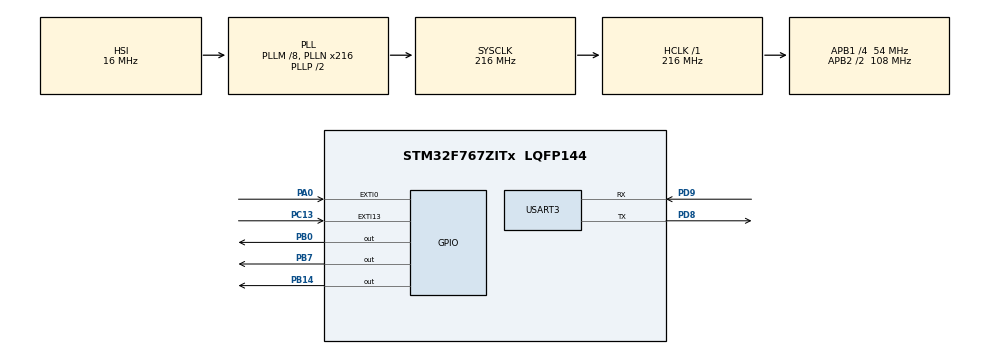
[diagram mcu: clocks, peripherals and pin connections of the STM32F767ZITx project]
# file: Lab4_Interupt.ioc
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Mcu.Family=STM32F7
Mcu.Name=STM32F767ZITx
Mcu.Package=LQFP144
NVIC.EXTI0_IRQn=true\:2\:0\:true\:false\:true\:true\:true
NVIC.EXTI15_10_IRQn=true\:2\:2\:true\:false\:true\:true\:true
NVIC.PriorityGroup=NVIC_PRIORITYGROUP_2
PA0/WKUP.GPIO_ModeDefaultEXTI=GPIO_MODE_IT_FALLING
PA0/WKUP.GPIO_PuPd=GPIO_PULLUP
PA0/WKUP.Signal=GPXTI0
PB0.Signal=GPIO_Output
PB14.Signal=GPIO_Output
PB7.Signal=GPIO_Output
PC13.Signal=GPXTI13
PD8.Mode=Asynchronous
PD8.Signal=USART3_TX
PD9.Mode=Asynchronous
PD9.Signal=USART3_RX
ProjectManager.HeapSize=0x200
ProjectManager.StackSize=0x400
ProjectManager.TargetToolchain=MDK-ARM V5
RCC.AHBFreq_Value=216000000
RCC.APB1CLKDivider=RCC_HCLK_DIV4
RCC.APB1Freq_Value=54000000
RCC.APB1TimFreq_Value=108000000
RCC.APB2CLKDivider=RCC_HCLK_DIV2
RCC.APB2Freq_Value=108000000
RCC.APB2TimFreq_Value=216000000
RCC.CortexFreq_Value=216000000
RCC.HCLKFreq_Value=216000000
RCC.HSE_VALUE=25000000
RCC.HSI_VALUE=16000000
RCC.LSE_VALUE=32768
RCC.PLLM=8
RCC.PLLN=216
RCC.SYSCLKFreq_VALUE=216000000
RCC.SYSCLKSource=RCC_SYSCLKSOURCE_PLLCLK
RCC.USBFreq_Value=216000000
RCC.VCOOutputFreq_Value=432000000
USART3.VirtualMode-Asynchronous=VM_ASYNC
board=custom

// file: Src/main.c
/* USER CODE BEGIN Header */
/**
  ******************************************************************************
  * @file           : main.c
  * @brief          : Main program body
  ******************************************************************************
  * @attention
  *
  * <h2><center>&copy; Copyright (c) 2019 STMicroelectronics.
  * All rights reserved.</center></h2>
  *
  * This software component is licensed by ST under BSD 3-Clause license,
  * the "License"; You may not use this file except in compliance with the
  * License. You may obtain a copy of the License at:
  *                        opensource.org/licenses/BSD-3-Clause
  *
  ******************************************************************************
  */
/* USER CODE END Header */

#include "main.h"
#include "usart.h"
#include "gpio.h"

void SystemClock_Config(void);

int main(void)
{

  /* MCU Configuration--------------------------------------------------------*/

  /* Reset of all peripherals, Initializes the Flash interface and the Systick. */
  HAL_Init();

  /* Configure the system clock */
  SystemClock_Config();

  /* Initialize all configured peripherals */
  MX_GPIO_Init();
  MX_USART3_UART_Init();

  /* Infinite loop */
  while (1)
  {

    /* USER CODE BEGIN 3 */
		char ch1 = '.';
		HAL_UART_Transmit(&huart3, (uint8_t*) &ch1, 1,1000);
		HAL_Delay(400);
  }
  /* USER CODE END 3 */
}

void SystemClock_Config(void)
{
  RCC_OscInitTypeDef RCC_OscInitStruct = {0};
  RCC_ClkInitTypeDef RCC_ClkInitStruct = {0};
  RCC_PeriphCLKInitTypeDef PeriphClkInitStruct = {0};

  /** Configure the main internal regulator output voltage
  */
  __HAL_RCC_PWR_CLK_ENABLE();
  __HAL_PWR_VOLTAGESCALING_CONFIG(PWR_REGULATOR_VOLTAGE_SCALE1);
  /** Initializes the CPU, AHB and APB busses clocks
  */
  RCC_OscInitStruct.OscillatorType = RCC_OSCILLATORTYPE_HSI;
  RCC_OscInitStruct.HSIState = RCC_HSI_ON;
  RCC_OscInitStruct.HSICalibrationValue = RCC_HSICALIBRATION_DEFAULT;
  RCC_OscInitStruct.PLL.PLLState = RCC_PLL_ON;
  RCC_OscInitStruct.PLL.PLLSource = RCC_PLLSOURCE_HSI;
  RCC_OscInitStruct.PLL.PLLM = 8;
  RCC_OscInitStruct.PLL.PLLN = 216;
  RCC_OscInitStruct.PLL.PLLP = RCC_PLLP_DIV2;
  RCC_OscInitStruct.PLL.PLLQ = 2;
  if (HAL_RCC_OscConfig(&RCC_OscInitStruct) != HAL_OK)
  {
    Error_Handler();
  }
  /** Activate the Over-Drive mode
  */
  if (HAL_PWREx_EnableOverDrive() != HAL_OK)
  {
    Error_Handler();
  }
  /** Initializes the CPU, AHB and APB busses clocks
  */
  RCC_ClkInitStruct.ClockType = RCC_CLOCKTYPE_HCLK|RCC_CLOCKTYPE_SYSCLK
                              |RCC_CLOCKTYPE_PCLK1|RCC_CLOCKTYPE_PCLK2;
  RCC_ClkInitStruct.SYSCLKSource = RCC_SYSCLKSOURCE_PLLCLK;
  RCC_ClkInitStruct.AHBCLKDivider = RCC_SYSCLK_DIV1;
  RCC_ClkInitStruct.APB1CLKDivider = RCC_HCLK_DIV4;
  RCC_ClkInitStruct.APB2CLKDivider = RCC_HCLK_DIV2;

  if (HAL_RCC_ClockConfig(&RCC_ClkInitStruct, FLASH_LATENCY_7) != HAL_OK)
  {
    Error_Handler();
  }
  PeriphClkInitStruct.PeriphClockSelection = RCC_PERIPHCLK_USART3;
  PeriphClkInitStruct.Usart3ClockSelection = RCC_USART3CLKSOURCE_PCLK1;
  if (HAL_RCCEx_PeriphCLKConfig(&PeriphClkInitStruct) != HAL_OK)
  {
    Error_Handler();
  }
}

/* USER CODE BEGIN 4 */
void HAL_GPIO_EXTI_Callback(uint16_t GPIO_Pin){
	if(GPIO_Pin == GPIO_PIN_13)
	{
		HAL_UART_Transmit(&huart3, (uint8_t*) "---", 3, 100);
		HAL_Delay(200);

		for(int i = 0; i<20;i++)
		{
			HAL_UART_Transmit(&huart3, (uint8_t*) "B", 1, 100);
			HAL_Delay(200);
		}
	}
	if(GPIO_Pin == GPIO_PIN_0)
	{
		HAL_UART_Transmit(&huart3, (uint8_t*) "---", 3, 100);
		HAL_Delay(200);

		for(int i = 0; i<20;i++)
		{
			HAL_UART_Transmit(&huart3, (uint8_t*) "E", 1, 100);
			HAL_Delay(200);
		}
	}
}
/* USER CODE END 4 */

void Error_Handler(void)
{
}

/************************ (C) COPYRIGHT STMicroelectronics *****END OF FILE****/
